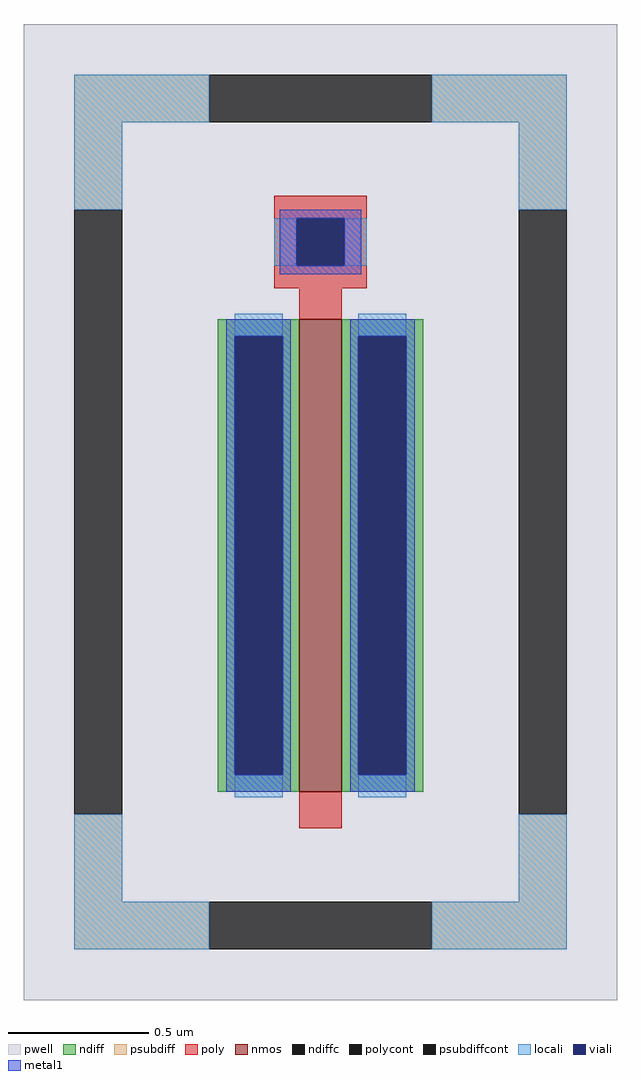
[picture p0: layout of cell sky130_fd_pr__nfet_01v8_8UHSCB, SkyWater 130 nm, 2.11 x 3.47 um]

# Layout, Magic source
magic
tech sky130A
magscale 1 2
<< pwell >>
rect -211 -347 211 347
<< nmos >>
rect -15 -199 15 137
<< ndiff >>
rect -73 125 -15 137
rect -73 -187 -61 125
rect -27 -187 -15 125
rect -73 -199 -15 -187
rect 15 125 73 137
rect 15 -187 27 125
rect 61 -187 73 125
rect 15 -199 73 -187
<< ndiffc >>
rect -61 -187 -27 125
rect 27 -187 61 125
<< psubdiff >>
rect -175 277 -79 311
rect 79 277 175 311
rect -175 215 -141 277
rect 141 215 175 277
rect -175 -277 -141 -215
rect 141 -277 175 -215
rect -175 -311 -79 -277
rect 79 -311 175 -277
<< psubdiffcont >>
rect -79 277 79 311
rect -175 -215 -141 215
rect 141 -215 175 215
rect -79 -311 79 -277
<< poly >>
rect -33 209 33 225
rect -33 175 -17 209
rect 17 175 33 209
rect -33 159 33 175
rect -15 137 15 159
rect -15 -225 15 -199
<< polycont >>
rect -17 175 17 209
<< locali >>
rect -175 277 -79 311
rect 79 277 175 311
rect -175 215 -141 277
rect 141 215 175 277
rect -33 175 -17 209
rect 17 175 33 209
rect -61 125 -27 141
rect -61 -203 -27 -187
rect 27 125 61 141
rect 27 -203 61 -187
rect -175 -277 -141 -215
rect 141 -277 175 -215
rect -175 -311 -79 -277
rect 79 -311 175 -277
<< viali >>
rect -17 175 17 209
rect -61 -187 -27 125
rect 27 -187 61 125
<< metal1 >>
rect -29 209 29 215
rect -29 175 -17 209
rect 17 175 29 209
rect -29 169 29 175
rect -67 125 -21 137
rect -67 -187 -61 125
rect -27 -187 -21 125
rect -67 -199 -21 -187
rect 21 125 67 137
rect 21 -187 27 125
rect 61 -187 67 125
rect 21 -199 67 -187
<< properties >>
string FIXED_BBOX -158 -294 158 294
string gencell sky130_fd_pr__nfet_01v8
string library sky130
string parameters w 1.68 l 0.15 m 1 nf 1 diffcov 100 polycov 100 guard 1 glc 1 grc 1 gtc 1 gbc 1 tbcov 100 rlcov 100 topc 1 botc 0 poverlap 0 doverlap 1 lmin 0.15 wmin 0.42 compatible {sky130_fd_pr__nfet_01v8 sky130_fd_pr__nfet_01v8_lvt  sky130_fd_bs_flash__special_sonosfet_star  sky130_fd_pr__nfet_g5v0d10v5 sky130_fd_pr__nfet_05v0_nvt  sky130_fd_pr__nfet_03v3_nvt} full_metal 1 viasrc 100 viadrn 100 viagate 100 viagb 0 viagr 0 viagl 0 viagt 0
<< end >>
